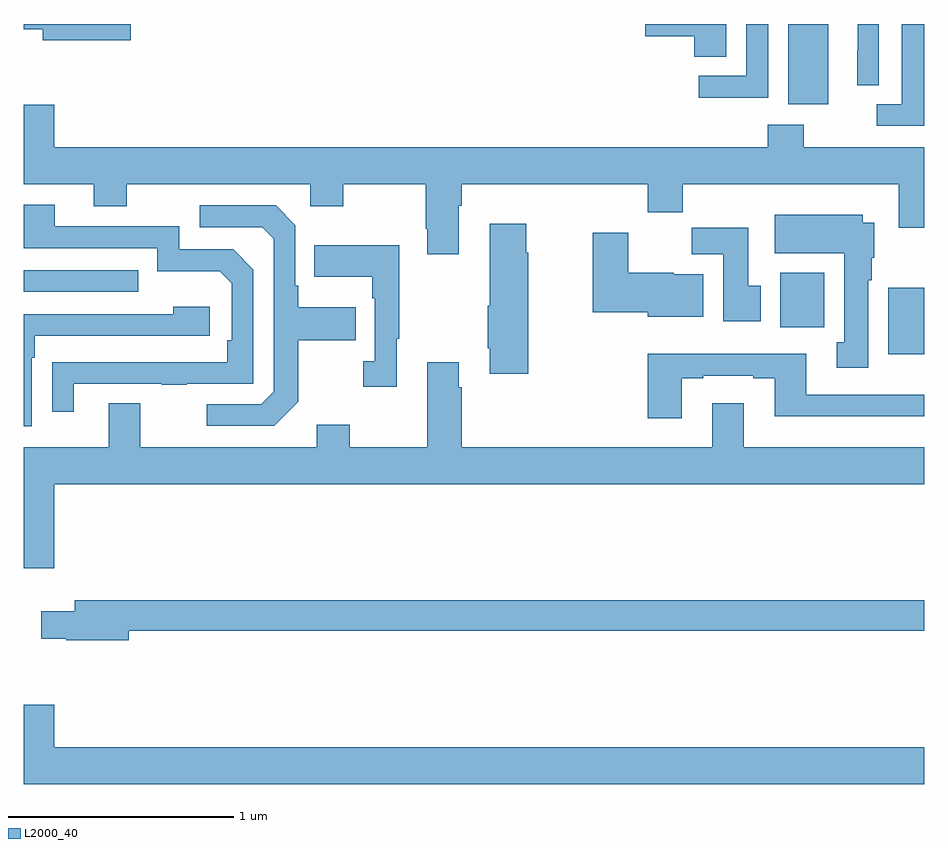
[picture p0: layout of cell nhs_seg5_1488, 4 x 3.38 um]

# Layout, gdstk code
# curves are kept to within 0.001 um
import gdstk
lib = gdstk.Library(unit=1e-6, precision=1e-09)
def R(c, l, rs):  # rectangles x0, y0, x1, y1
    for r in rs: c.add(gdstk.rectangle(r[:2], r[2:], *l))
def P(c, l, *ps):  # polygons
    for p in ps: c.add(gdstk.Polygon(p, *l))
L2000_40 = (2000, 40)

nhs_seg5_1488 = lib.new_cell('nhs_seg5_1488')
R(nhs_seg5_1488, L2000_40, [(204.839,861.332,205,861.628), (204.359,861.452,204.556,861.694), (201,861.609,201.509,861.705), (204.395,862.442,204.574,862.799)])
P(nhs_seg5_1488, L2000_40, [(204.306,862.799),(204.21,862.799),(204.21,862.569),(203.997,862.569),(203.997,862.471),(204.306,862.471)],
  [(204.798,862.799),(204.704,862.799),(204.704,862.682),(204.702,862.682),(204.702,862.528),(204.798,862.528)],
  [(201.475,862.799),(201,862.799),(201,862.776),(201.086,862.776),(201.086,862.726),(201.475,862.726)],
  [(204.121,862.799),(203.76,862.799),(203.76,862.745),(203.978,862.745),(203.978,862.654),(204.121,862.654)],
  [(205,862.799),(204.899,862.799),(204.899,862.443),(204.789,862.443),(204.789,862.347),(205,862.347)],
  [(202.933,861.992),(202.946,861.992),(202.946,862.088),(203.771,862.088),(203.771,861.964),(203.927,861.964),(203.927,862.088),(204.887,862.088),(204.887,861.894),(205,861.894),(205,862.252),(204.465,862.252),(204.465,862.351),(204.305,862.351),(204.305,862.252),(201.136,862.252),(201.136,862.441),(201,862.441),(201,862.088),(201.311,862.088),(201.311,861.989),(201.459,861.989),(201.459,862.088),(202.272,862.088),(202.272,861.989),(202.419,861.989),(202.419,862.088),(202.786,862.088),(202.786,861.889),(202.793,861.889),(202.793,861.777),(202.933,861.777)],
  [(201.223,861.201),(201.613,861.201),(201.613,861.196),(201.725,861.196),(201.725,861.201),(202.02,861.201),(202.02,861.708),(201.93,861.798),(201.69,861.798),(201.69,861.9),(201.139,861.9),(201.139,861.996),(201,861.996),(201,861.804),(201.594,861.804),(201.594,861.701),(201.871,861.701),(201.924,861.648),(201.924,861.394),(201.904,861.394),(201.904,861.297),(201.127,861.296),(201.127,861.078),(201.223,861.078)],
  [(202.219,861.121),(202.219,861.394),(202.475,861.394),(202.475,861.541),(202.219,861.541),(202.219,861.637),(202.206,861.637),(202.206,861.906),(202.119,861.993),(201.783,861.993),(201.783,861.897),(202.059,861.897),(202.11,861.846),(202.11,861.165),(202.056,861.111),(201.813,861.111),(201.813,861.015),(202.113,861.015)],
  [(204.751,861.662),(204.766,861.662),(204.766,861.762),(204.778,861.762),(204.778,861.916),(204.727,861.916),(204.727,861.952),(204.335,861.952),(204.335,861.782),(204.644,861.782),(204.644,861.386),(204.611,861.386),(204.611,861.273),(204.751,861.273)],
  [(203.242,861.783),(203.232,861.783),(203.232,861.913),(203.069,861.913),(203.069,861.547),(203.062,861.547),(203.062,861.358),(203.069,861.358),(203.069,861.246),(203.242,861.246)],
  [(204.274,861.636),(204.217,861.636),(204.217,861.894),(203.968,861.894),(203.968,861.776),(204.107,861.776),(204.107,861.48),(204.274,861.48)],
  [(204.019,861.688),(203.886,861.688),(203.886,861.694),(203.686,861.694),(203.686,861.871),(203.528,861.871),(203.528,861.518),(203.772,861.518),(203.772,861.5),(204.019,861.5)],
  [(202.657,861.401),(202.669,861.401),(202.669,861.817),(202.291,861.817),(202.291,861.677),(202.548,861.677),(202.548,861.581),(202.56,861.581),(202.56,861.302),(202.509,861.302),(202.509,861.189),(202.657,861.189)],
  [(201.036,861.317),(201.049,861.317),(201.049,861.414),(201.826,861.414),(201.826,861.544),(201.665,861.544),(201.665,861.51),(201,861.51),(201,861.012),(201.036,861.012)],
  [(203.923,861.225),(204.019,861.225),(204.019,861.237),(204.239,861.237),(204.239,861.225),(204.335,861.225),(204.335,861.056),(205,861.056),(205,861.153),(204.475,861.153),(204.475,861.334),(203.771,861.334),(203.771,861.048),(203.923,861.048)],
  [(201.136,860.756),(205,860.756),(205,860.92),(204.199,860.92),(204.199,861.115),(204.059,861.115),(204.059,860.92),(202.946,860.92),(202.946,861.185),(202.933,861.185),(202.933,861.298),(202.793,861.298),(202.793,860.92),(202.449,860.92),(202.449,861.019),(202.301,861.019),(202.301,860.92),(201.517,860.92),(201.517,861.115),(201.377,861.115),(201.377,860.92),(201,860.92),(201,860.382),(201.136,860.382)],
  [(201.466,860.104),(205,860.104),(205,860.24),(201.227,860.24),(201.227,860.191),(201.078,860.191),(201.078,860.069),(201.19,860.069),(201.19,860.062),(201.466,860.062)],
  [(205,859.588),(201.136,859.588),(201.136,859.777),(201,859.777),(201,859.424),(205,859.424)])

lib.write_gds('nhs_seg5_1488.gds')
